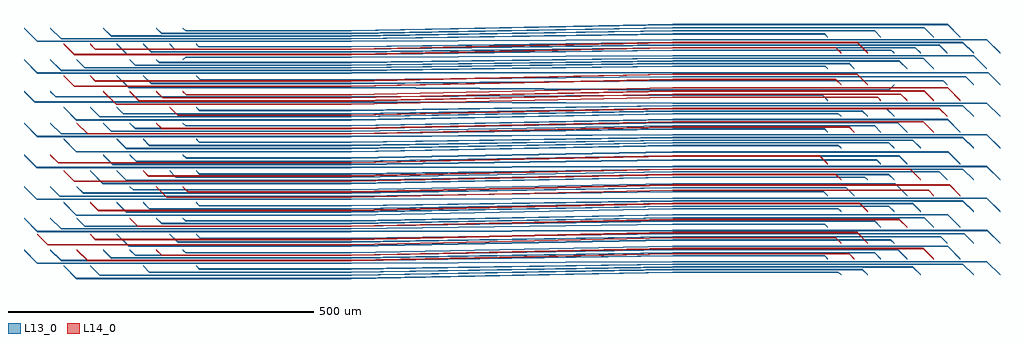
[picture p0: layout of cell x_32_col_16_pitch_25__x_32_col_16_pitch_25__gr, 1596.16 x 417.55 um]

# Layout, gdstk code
import gdstk
lib = gdstk.Library(unit=1e-6, precision=1e-09)
def R(c, l, rs):  # rectangles x0, y0, x1, y1
    for r in rs: c.add(gdstk.rectangle(r[:2], r[2:], *l))
def A(c, l, x, y, w, h, nx, ny, dx, dy):  # array of equal rectangles
    R(c, l, [(x+i*dx, y+j*dy, x+i*dx+w, y+j*dy+h) for i in range(nx) for j in range(ny)])
def P(c, l, *ps):  # polygons
    for p in ps: c.add(gdstk.Polygon(p, *l))
L13_0 = (13, 0)
L14_0 = (14, 0)

x_32_col_16_pitch_25__x_ = lib.new_cell('x_32_col_16_pitch_25__x_32_col_16_pitch_25__gr')
A(x_32_col_16_pitch_25__x_, L13_0, 1425.106, 1466.224, 449.894, 2, 1, 3, 0, 103.68)
A(x_32_col_16_pitch_25__x_, L13_0, 2400, 1476.56, 271.46, 2, 1, 3, 0, 103.68)
A(x_32_col_16_pitch_25__x_, L13_0, 1544.638, 1476.592, 330.362, 2, 1, 3, 0, 103.68)
A(x_32_col_16_pitch_25__x_, L13_0, 2400, 1485.2, 392.72, 2, 1, 3, 0, 103.68)
A(x_32_col_16_pitch_25__x_, L13_0, 2400, 1555.184, 248.946, 2, 1, 3, 0, 155.52)
A(x_32_col_16_pitch_25__x_, L13_0, 2400, 1560.368, 330.362, 2, 1, 3, 0, 155.52)
A(x_32_col_16_pitch_25__x_, L13_0, 2400, 1570.736, 449.894, 2, 1, 3, 0, 155.52)
A(x_32_col_16_pitch_25__x_, L13_0, 1506.522, 1575.088, 368.478, 2, 1, 3, 0, 51.84)
A(x_32_col_16_pitch_25__x_, L13_0, 2400, 1584.56, 353.74, 2, 1, 3, 0, 51.84)
A(x_32_col_16_pitch_25__x_, L13_0, 1626.054, 1585.456, 248.946, 2, 1, 4, 0, 51.84)
A(x_32_col_16_pitch_25__x_, L13_0, 2400, 1593.2, 475, 2, 1, 4, 0, 51.84)
A(x_32_col_16_pitch_25__x_, L13_0, 2400, 1597.52, 513.982, 2, 1, 4, 0, 51.84)
R(x_32_col_16_pitch_25__x_, L13_0, [(1463.222,1471.408,1875,1473.408), (2400,1480.88,2710.44,1482.88), (1626.054,1481.776,1875,1483.776), (2400,1489.52,2875,1491.52), (1361.017,1491.28,1875,1493.28), (2400,1493.84,2913.982,1495.84), (1400,1495.6,1875,1497.6), (1482.28,1499.92,1875,1501.92), (2400,1503.344,2648.946,1505.344), (1521.26,1504.24,1875,1506.24), (2400,1508.528,2730.362,1510.528), (1603.54,1508.56,1875,1510.56), (2400,1513.712,2768.478,1515.712), (2400,1518.896,2849.894,1520.896), (1510.41,1519.36,1875,1521.36), (1590.53,1525.84,1875,1527.84), (2400,1529.264,2757.196,1531.264), (1627.35,1532.32,1875,1534.32), (2400,1534.448,2838.612,1536.448), (2400,1539.632,2876.728,1541.632), (1361.017,1543.12,1875,1545.12), (2400,1544.816,2914.846,1546.816), (1400,1547.44,1875,1549.44), (1438.98,1551.76,1875,1553.76), (1564.56,1556.08,1875,1558.08), (1603.54,1560.4,1875,1562.4), (2400,1565.552,2811.778,1567.552), (1360.153,1595.824,1875,1597.824), (1398.272,1601.008,1875,1603.008), (1436.388,1606.192,1875,1608.192), (2400,1608.32,2647.65,1610.32), (1517.804,1611.376,1875,1613.376), (2400,1614.8,2684.47,1616.8), (2400,1621.28,2764.59,1623.28), (1468.406,1621.744,1875,1623.744), (2400,1632.08,2714.76,1634.08), (1587.938,1632.112,1875,1634.112), (2400,1640.72,2836.02,1642.72), (1360.153,1647.664,1875,1649.664), (1484.872,1652.848,1875,1654.848), (1522.988,1658.032,1875,1660.032), (2400,1660.16,2734.25,1662.16), (1604.404,1663.216,1875,1665.216), (2400,1666.64,2771.07,1668.64), (2400,1673.12,2851.19,1675.12), (1361.017,1698.64,1875,1700.64), (1400,1702.96,1875,1704.96), (1482.28,1707.28,1875,1709.28), (1521.26,1711.6,1875,1713.6), (1603.54,1715.92,1875,1717.92), (2400,1721.072,2768.478,1723.072), (1425.106,1725.424,1875,1727.424), (1463.222,1730.608,1875,1732.608), (2400,1735.76,2671.46,1737.76), (1501.338,1735.792,1875,1737.792), (2400,1740.08,2710.44,1742.08), (2400,1744.4,2749.42,1746.4), (1356.697,1754.8,1875,1756.8), (1391.36,1763.44,1875,1765.44), (2400,1766,2645.49,1768), (2400,1774.64,2753.74,1776.64), (1510.41,1778.56,1875,1780.56), (1547.23,1785.04,1875,1787.04), (2400,1789.76,2842.5,1791.76), (1627.35,1791.52,1875,1793.52), (2400,1796.24,2879.32,1798.24), (1361.017,1802.32,1875,1804.32), (2400,1802.72,2916.142,1804.72), (1400,1806.64,1875,1808.64), (1438.98,1810.96,1875,1812.96), (2400,1813.52,2649.81,1815.52), (1521.26,1815.28,1875,1817.28), (2400,1817.84,2688.79,1819.84), (1560.24,1819.6,1875,1821.6), (2400,1822.16,2771.07,1824.16), (2400,1826.48,2810.05,1828.48), (1603.54,1828.24,1875,1830.24), (2400,1830.8,2892.332,1832.8), (1508.25,1832.56,1875,1834.56), (1547.23,1836.88,1875,1838.88), (2400,1839.44,2758.06,1841.44), (1586.21,1841.2,1875,1843.2), (2400,1843.76,2797.04,1845.76), (1625.19,1845.52,1875,1847.52), (2400,1848.08,2836.02,1850.08), (2400,1852.4,2875,1854.4), (1361.017,1854.16,1875,1856.16), (2400,1856.72,2913.982,1858.72), (1400,1858.48,1875,1860.48), (1482.28,1862.8,1875,1864.8), (1564.56,1867.12,1875,1869.12), (1603.54,1871.44,1875,1873.44), (2400,1876.592,2811.778,1878.592)])
P(x_32_col_16_pitch_25__x_, L13_0, [(2654.13,1861.04),(2654.13,1863.04),(2648.946,1868.224),(2648.946,1866.224)],
  [(2400,1866.224),(2400,1868.224),(1875,1860.48),(1875,1858.48)],
  [(1400,1858.48),(1400,1860.48),(1382.72,1877.76),(1382.72,1875.76)],
  [(2740.73,1861.04),(2740.73,1863.04),(2730.362,1873.408),(2730.362,1871.408)],
  [(2400,1871.408),(2400,1873.408),(1875,1864.8),(1875,1862.8)],
  [(1482.28,1862.8),(1482.28,1864.8),(1469.32,1877.76),(1469.32,1875.76)],
  [(2827.33,1861.04),(2827.33,1863.04),(2811.778,1878.592),(2811.778,1876.592)],
  [(2400,1876.592),(2400,1878.592),(1875,1869.12),(1875,1867.12)],
  [(1564.56,1867.12),(1564.56,1869.12),(1555.92,1877.76),(1555.92,1875.76)],
  [(2870.63,1861.04),(2870.63,1863.04),(2849.894,1883.776),(2849.894,1881.776)],
  [(2400,1881.776),(2400,1883.776),(1875,1873.44),(1875,1871.44)],
  [(1603.54,1871.44),(1603.54,1873.44),(1599.22,1877.76),(1599.22,1875.76)],
  [(2762.38,1835.12),(2762.38,1837.12),(2758.06,1841.44),(2758.06,1839.44)],
  [(2400,1839.44),(2400,1841.44),(1875,1834.56),(1875,1832.56)],
  [(1508.25,1832.56),(1508.25,1834.56),(1490.97,1851.84),(1490.97,1849.84)],
  [(2805.68,1835.12),(2805.68,1837.12),(2797.04,1845.76),(2797.04,1843.76)],
  [(2400,1843.76),(2400,1845.76),(1875,1838.88),(1875,1836.88)],
  [(1547.23,1836.88),(1547.23,1838.88),(1534.27,1851.84),(1534.27,1849.84)],
  [(2848.98,1835.12),(2848.98,1837.12),(2836.02,1850.08),(2836.02,1848.08)],
  [(2400,1848.08),(2400,1850.08),(1875,1843.2),(1875,1841.2)],
  [(1586.21,1841.2),(1586.21,1843.2),(1577.57,1851.84),(1577.57,1849.84)],
  [(2892.28,1835.12),(2892.28,1837.12),(2875,1854.4),(2875,1852.4)],
  [(2400,1852.4),(2400,1854.4),(1875,1847.52),(1875,1845.52)],
  [(1625.19,1845.52),(1625.19,1847.52),(1620.87,1851.84),(1620.87,1849.84)],
  [(2935.582,1835.12),(2935.582,1837.12),(2913.982,1858.72),(2913.982,1856.72)],
  [(2400,1856.72),(2400,1858.72),(1875,1856.16),(1875,1854.16)],
  [(1361.017,1854.16),(1361.017,1856.16),(1339.417,1877.76),(1339.417,1875.76)],
  [(2654.13,1809.2),(2654.13,1811.2),(2649.81,1815.52),(2649.81,1813.52)],
  [(2400,1813.52),(2400,1815.52),(1875,1808.64),(1875,1806.64)],
  [(1400,1806.64),(1400,1808.64),(1382.72,1825.92),(1382.72,1823.92)],
  [(2697.43,1809.2),(2697.43,1811.2),(2688.79,1819.84),(2688.79,1817.84)],
  [(2400,1817.84),(2400,1819.84),(1875,1812.96),(1875,1810.96)],
  [(1438.98,1810.96),(1438.98,1812.96),(1426.02,1825.92),(1426.02,1823.92)],
  [(2784.03,1809.2),(2784.03,1811.2),(2771.07,1824.16),(2771.07,1822.16)],
  [(2400,1822.16),(2400,1824.16),(1875,1817.28),(1875,1815.28)],
  [(1521.26,1815.28),(1521.26,1817.28),(1512.62,1825.92),(1512.62,1823.92)],
  [(2827.33,1809.2),(2827.33,1811.2),(2810.05,1828.48),(2810.05,1826.48)],
  [(2400,1826.48),(2400,1828.48),(1875,1821.6),(1875,1819.6)],
  [(1560.24,1819.6),(1560.24,1821.6),(1555.92,1825.92),(1555.92,1823.92)],
  [(2913.932,1809.2),(2913.932,1811.2),(2892.332,1832.8),(2892.332,1830.8)],
  [(2400,1830.8),(2400,1832.8),(1875,1830.24),(1875,1828.24)],
  [(1603.54,1828.24),(1603.54,1830.24),(1599.22,1825.92),(1599.22,1823.92)],
  [(2762.38,1783.28),(2762.38,1785.28),(2753.74,1776.64),(2753.74,1774.64)],
  [(2400,1774.64),(2400,1776.64),(1875,1780.56),(1875,1778.56)],
  [(1510.41,1778.56),(1510.41,1780.56),(1490.97,1800),(1490.97,1798)],
  [(2848.98,1783.28),(2848.98,1785.28),(2842.5,1791.76),(2842.5,1789.76)],
  [(2400,1789.76),(2400,1791.76),(1875,1787.04),(1875,1785.04)],
  [(1547.23,1785.04),(1547.23,1787.04),(1534.27,1800),(1534.27,1798)],
  [(2892.28,1783.28),(2892.28,1785.28),(2879.32,1798.24),(2879.32,1796.24)],
  [(2400,1796.24),(2400,1798.24),(1875,1793.52),(1875,1791.52)],
  [(1627.35,1791.52),(1627.35,1793.52),(1620.87,1800),(1620.87,1798)],
  [(2935.582,1783.28),(2935.582,1785.28),(2916.142,1804.72),(2916.142,1802.72)],
  [(2400,1802.72),(2400,1804.72),(1875,1804.32),(1875,1802.32)],
  [(1361.017,1802.32),(1361.017,1804.32),(1339.417,1825.92),(1339.417,1823.92)],
  [(2654.13,1757.36),(2654.13,1759.36),(2645.49,1768),(2645.49,1766)],
  [(2400,1766),(2400,1768),(1875,1765.44),(1875,1763.44)],
  [(1391.36,1763.44),(1391.36,1765.44),(1382.72,1774.08),(1382.72,1772.08)],
  [(2675.78,1731.44),(2675.78,1733.44),(2671.46,1737.76),(2671.46,1735.76)],
  [(2400,1735.76),(2400,1737.76),(1875,1727.424),(1875,1725.424)],
  [(1425.106,1725.424),(1425.106,1727.424),(1404.37,1748.16),(1404.37,1746.16)],
  [(2719.08,1731.44),(2719.08,1733.44),(2710.44,1742.08),(2710.44,1740.08)],
  [(2400,1740.08),(2400,1742.08),(1875,1732.608),(1875,1730.608)],
  [(1463.222,1730.608),(1463.222,1732.608),(1447.67,1748.16),(1447.67,1746.16)],
  [(2762.38,1731.44),(2762.38,1733.44),(2749.42,1746.4),(2749.42,1744.4)],
  [(2400,1744.4),(2400,1746.4),(1875,1737.792),(1875,1735.792)],
  [(1501.338,1735.792),(1501.338,1737.792),(1490.97,1748.16),(1490.97,1746.16)],
  [(2892.28,1731.44),(2892.28,1733.44),(2875,1750.72),(2875,1748.72)],
  [(2400,1748.72),(2400,1750.72),(1875,1742.976),(1875,1740.976)],
  [(1626.054,1740.976),(1626.054,1742.976),(1620.87,1748.16),(1620.87,1746.16)],
  [(2935.582,1731.44),(2935.582,1733.44),(2913.982,1755.04),(2913.982,1753.04)],
  [(2400,1753.04),(2400,1755.04),(1875,1756.8),(1875,1754.8)],
  [(1356.697,1754.8),(1356.697,1756.8),(1339.417,1774.08),(1339.417,1772.08)],
  [(2654.13,1705.52),(2654.13,1707.52),(2648.946,1712.704),(2648.946,1710.704)],
  [(2400,1710.704),(2400,1712.704),(1875,1704.96),(1875,1702.96)],
  [(1400,1702.96),(1400,1704.96),(1382.72,1722.24),(1382.72,1720.24)],
  [(2740.73,1705.52),(2740.73,1707.52),(2730.362,1717.888),(2730.362,1715.888)],
  [(2400,1715.888),(2400,1717.888),(1875,1709.28),(1875,1707.28)],
  [(1482.28,1707.28),(1482.28,1709.28),(1469.32,1722.24),(1469.32,1720.24)],
  [(2784.03,1705.52),(2784.03,1707.52),(2768.478,1723.072),(2768.478,1721.072)],
  [(2400,1721.072),(2400,1723.072),(1875,1713.6),(1875,1711.6)],
  [(1521.26,1711.6),(1521.26,1713.6),(1512.62,1722.24),(1512.62,1720.24)],
  [(2870.63,1705.52),(2870.63,1707.52),(2849.894,1728.256),(2849.894,1726.256)],
  [(2400,1726.256),(2400,1728.256),(1875,1717.92),(1875,1715.92)],
  [(1603.54,1715.92),(1603.54,1717.92),(1599.22,1722.24),(1599.22,1720.24)],
  [(2675.78,1679.6),(2675.78,1681.6),(2671.46,1685.92),(2671.46,1683.92)],
  [(2400,1683.92),(2400,1685.92),(1875,1675.584),(1875,1673.584)],
  [(1425.106,1673.584),(1425.106,1675.584),(1404.37,1696.32),(1404.37,1694.32)],
  [(2762.38,1679.6),(2762.38,1681.6),(2753.74,1690.24),(2753.74,1688.24)],
  [(2400,1688.24),(2400,1690.24),(1875,1680.768),(1875,1678.768)],
  [(1506.522,1678.768),(1506.522,1680.768),(1490.97,1696.32),(1490.97,1694.32)],
  [(2805.68,1679.6),(2805.68,1681.6),(2792.72,1694.56),(2792.72,1692.56)],
  [(2400,1692.56),(2400,1694.56),(1875,1685.952),(1875,1683.952)],
  [(1544.638,1683.952),(1544.638,1685.952),(1534.27,1696.32),(1534.27,1694.32)],
  [(2892.28,1679.6),(2892.28,1681.6),(2875,1698.88),(2875,1696.88)],
  [(2400,1696.88),(2400,1698.88),(1875,1691.136),(1875,1689.136)],
  [(1626.054,1689.136),(1626.054,1691.136),(1620.87,1696.32),(1620.87,1694.32)],
  [(2935.582,1679.6),(2935.582,1681.6),(2913.982,1703.2),(2913.982,1701.2)],
  [(2400,1701.2),(2400,1703.2),(1875,1700.64),(1875,1698.64)],
  [(1361.017,1698.64),(1361.017,1700.64),(1339.417,1722.24),(1339.417,1720.24)],
  [(2740.73,1653.68),(2740.73,1655.68),(2734.25,1662.16),(2734.25,1660.16)],
  [(2400,1660.16),(2400,1662.16),(1875,1654.848),(1875,1652.848)],
  [(1484.872,1652.848),(1484.872,1654.848),(1469.32,1670.4),(1469.32,1668.4)],
  [(2784.03,1653.68),(2784.03,1655.68),(2771.07,1668.64),(2771.07,1666.64)],
  [(2400,1666.64),(2400,1668.64),(1875,1660.032),(1875,1658.032)],
  [(1522.988,1658.032),(1522.988,1660.032),(1512.62,1670.4),(1512.62,1668.4)],
  [(2870.63,1653.68),(2870.63,1655.68),(2851.19,1675.12),(2851.19,1673.12)],
  [(2400,1673.12),(2400,1675.12),(1875,1665.216),(1875,1663.216)],
  [(1604.404,1663.216),(1604.404,1665.216),(1599.22,1670.4),(1599.22,1668.4)],
  [(2719.08,1627.76),(2719.08,1629.76),(2714.76,1634.08),(2714.76,1632.08)],
  [(2400,1632.08),(2400,1634.08),(1875,1623.744),(1875,1621.744)],
  [(1468.406,1621.744),(1468.406,1623.744),(1447.67,1644.48),(1447.67,1642.48)],
  [(2762.38,1627.76),(2762.38,1629.76),(2753.74,1638.4),(2753.74,1636.4)],
  [(2400,1636.4),(2400,1638.4),(1875,1628.928),(1875,1626.928)],
  [(1506.522,1626.928),(1506.522,1628.928),(1490.97,1644.48),(1490.97,1642.48)],
  [(2848.98,1627.76),(2848.98,1629.76),(2836.02,1642.72),(2836.02,1640.72)],
  [(2400,1640.72),(2400,1642.72),(1875,1634.112),(1875,1632.112)],
  [(1587.938,1632.112),(1587.938,1634.112),(1577.57,1644.48),(1577.57,1642.48)],
  [(2892.28,1627.76),(2892.28,1629.76),(2875,1647.04),(2875,1645.04)],
  [(2400,1645.04),(2400,1647.04),(1875,1639.296),(1875,1637.296)],
  [(1626.054,1637.296),(1626.054,1639.296),(1620.87,1644.48),(1620.87,1642.48)],
  [(2935.582,1627.76),(2935.582,1629.76),(2913.982,1651.36),(2913.982,1649.36)],
  [(2400,1649.36),(2400,1651.36),(1875,1649.664),(1875,1647.664)],
  [(1360.153,1647.664),(1360.153,1649.664),(1339.417,1670.4),(1339.417,1668.4)],
  [(2654.13,1601.84),(2654.13,1603.84),(2647.65,1610.32),(2647.65,1608.32)],
  [(2400,1608.32),(2400,1610.32),(1875,1603.008),(1875,1601.008)],
  [(1398.272,1601.008),(1398.272,1603.008),(1382.72,1618.56),(1382.72,1616.56)],
  [(2697.43,1601.84),(2697.43,1603.84),(2684.47,1616.8),(2684.47,1614.8)],
  [(2400,1614.8),(2400,1616.8),(1875,1608.192),(1875,1606.192)],
  [(1436.388,1606.192),(1436.388,1608.192),(1426.02,1618.56),(1426.02,1616.56)],
  [(2784.03,1601.84),(2784.03,1603.84),(2764.59,1623.28),(2764.59,1621.28)],
  [(2400,1621.28),(2400,1623.28),(1875,1613.376),(1875,1611.376)],
  [(1517.804,1611.376),(1517.804,1613.376),(1512.62,1618.56),(1512.62,1616.56)],
  [(2675.78,1575.92),(2675.78,1577.92),(2671.46,1582.24),(2671.46,1580.24)],
  [(2400,1580.24),(2400,1582.24),(1875,1571.904),(1875,1569.904)],
  [(1425.106,1569.904),(1425.106,1571.904),(1404.37,1592.64),(1404.37,1590.64)],
  [(2762.38,1575.92),(2762.38,1577.92),(2753.74,1586.56),(2753.74,1584.56)],
  [(2400,1584.56),(2400,1586.56),(1875,1577.088),(1875,1575.088)],
  [(1506.522,1575.088),(1506.522,1577.088),(1490.97,1592.64),(1490.97,1590.64)],
  [(2805.68,1575.92),(2805.68,1577.92),(2792.72,1590.88),(2792.72,1588.88)],
  [(2400,1588.88),(2400,1590.88),(1875,1582.272),(1875,1580.272)],
  [(1544.638,1580.272),(1544.638,1582.272),(1534.27,1592.64),(1534.27,1590.64)],
  [(2892.28,1575.92),(2892.28,1577.92),(2875,1595.2),(2875,1593.2)],
  [(2400,1593.2),(2400,1595.2),(1875,1587.456),(1875,1585.456)],
  [(1626.054,1585.456),(1626.054,1587.456),(1620.87,1592.64),(1620.87,1590.64)],
  [(2935.582,1575.92),(2935.582,1577.92),(2913.982,1599.52),(2913.982,1597.52)],
  [(2400,1597.52),(2400,1599.52),(1875,1597.824),(1875,1595.824)],
  [(1360.153,1595.824),(1360.153,1597.824),(1339.417,1618.56),(1339.417,1616.56)],
  [(2654.13,1550),(2654.13,1552),(2648.946,1557.184),(2648.946,1555.184)],
  [(2400,1555.184),(2400,1557.184),(1875,1549.44),(1875,1547.44)],
  [(1400,1547.44),(1400,1549.44),(1382.72,1566.72),(1382.72,1564.72)],
  [(2740.73,1550),(2740.73,1552),(2730.362,1562.368),(2730.362,1560.368)],
  [(2400,1560.368),(2400,1562.368),(1875,1553.76),(1875,1551.76)],
  [(1438.98,1551.76),(1438.98,1553.76),(1426.02,1566.72),(1426.02,1564.72)],
  [(2827.33,1550),(2827.33,1552),(2811.778,1567.552),(2811.778,1565.552)],
  [(2400,1565.552),(2400,1567.552),(1875,1558.08),(1875,1556.08)],
  [(1564.56,1556.08),(1564.56,1558.08),(1555.92,1566.72),(1555.92,1564.72)],
  [(2870.63,1550),(2870.63,1552),(2849.894,1572.736),(2849.894,1570.736)],
  [(2400,1570.736),(2400,1572.736),(1875,1562.4),(1875,1560.4)],
  [(1603.54,1560.4),(1603.54,1562.4),(1599.22,1566.72),(1599.22,1564.72)],
  [(2762.38,1524.08),(2762.38,1526.08),(2757.196,1531.264),(2757.196,1529.264)],
  [(2400,1529.264),(2400,1531.264),(1875,1521.36),(1875,1519.36)],
  [(1510.41,1519.36),(1510.41,1521.36),(1490.97,1540.8),(1490.97,1538.8)],
  [(2848.98,1524.08),(2848.98,1526.08),(2838.612,1536.448),(2838.612,1534.448)],
  [(2400,1534.448),(2400,1536.448),(1875,1527.84),(1875,1525.84)],
  [(1590.53,1525.84),(1590.53,1527.84),(1577.57,1540.8),(1577.57,1538.8)],
  [(2892.28,1524.08),(2892.28,1526.08),(2876.728,1541.632),(2876.728,1539.632)],
  [(2400,1539.632),(2400,1541.632),(1875,1534.32),(1875,1532.32)],
  [(1627.35,1532.32),(1627.35,1534.32),(1620.87,1540.8),(1620.87,1538.8)],
  [(2935.582,1524.08),(2935.582,1526.08),(2914.846,1546.816),(2914.846,1544.816)],
  [(2400,1544.816),(2400,1546.816),(1875,1545.12),(1875,1543.12)],
  [(1361.017,1543.12),(1361.017,1545.12),(1339.417,1566.72),(1339.417,1564.72)],
  [(2654.13,1498.16),(2654.13,1500.16),(2648.946,1505.344),(2648.946,1503.344)],
  [(2400,1503.344),(2400,1505.344),(1875,1497.6),(1875,1495.6)],
  [(1400,1495.6),(1400,1497.6),(1382.72,1514.88),(1382.72,1512.88)],
  [(2740.73,1498.16),(2740.73,1500.16),(2730.362,1510.528),(2730.362,1508.528)],
  [(2400,1508.528),(2400,1510.528),(1875,1501.92),(1875,1499.92)],
  [(1482.28,1499.92),(1482.28,1501.92),(1469.32,1514.88),(1469.32,1512.88)],
  [(2784.03,1498.16),(2784.03,1500.16),(2768.478,1515.712),(2768.478,1513.712)],
  [(2400,1513.712),(2400,1515.712),(1875,1506.24),(1875,1504.24)],
  [(1521.26,1504.24),(1521.26,1506.24),(1512.62,1514.88),(1512.62,1512.88)],
  [(2870.63,1498.16),(2870.63,1500.16),(2849.894,1520.896),(2849.894,1518.896)],
  [(2400,1518.896),(2400,1520.896),(1875,1510.56),(1875,1508.56)],
  [(1603.54,1508.56),(1603.54,1510.56),(1599.22,1514.88),(1599.22,1512.88)],
  [(2675.78,1472.24),(2675.78,1474.24),(2671.46,1478.56),(2671.46,1476.56)],
  [(2400,1476.56),(2400,1478.56),(1875,1468.224),(1875,1466.224)],
  [(1425.106,1466.224),(1425.106,1468.224),(1404.37,1488.96),(1404.37,1486.96)],
  [(2719.08,1472.24),(2719.08,1474.24),(2710.44,1482.88),(2710.44,1480.88)],
  [(2400,1480.88),(2400,1482.88),(1875,1473.408),(1875,1471.408)],
  [(1463.222,1471.408),(1463.222,1473.408),(1447.67,1488.96),(1447.67,1486.96)],
  [(2805.68,1472.24),(2805.68,1474.24),(2792.72,1487.2),(2792.72,1485.2)],
  [(2400,1485.2),(2400,1487.2),(1875,1478.592),(1875,1476.592)],
  [(1544.638,1476.592),(1544.638,1478.592),(1534.27,1488.96),(1534.27,1486.96)],
  [(2892.28,1472.24),(2892.28,1474.24),(2875,1491.52),(2875,1489.52)],
  [(2400,1489.52),(2400,1491.52),(1875,1483.776),(1875,1481.776)],
  [(1626.054,1481.776),(1626.054,1483.776),(1620.87,1488.96),(1620.87,1486.96)],
  [(2935.582,1472.24),(2935.582,1474.24),(2913.982,1495.84),(2913.982,1493.84)],
  [(2400,1493.84),(2400,1495.84),(1875,1493.28),(1875,1491.28)],
  [(1361.017,1491.28),(1361.017,1493.28),(1339.417,1514.88),(1339.417,1512.88)])
R(x_32_col_16_pitch_25__x_, L14_0, [(1443.3,1495.6,1875,1497.6), (1564.56,1504.24,1875,1506.24), (2400,1506.8,2688.79,1508.8), (2400,1515.44,2810.05,1517.44), (1378.347,1521.52,1875,1523.52), (1456.31,1530.16,1875,1532.16), (2400,1532.72,2667.14,1534.72), (2400,1541.36,2701.8,1543.36), (1525.58,1551.76,1875,1553.76), (2400,1562.96,2771.07,1564.96), (1460.63,1577.68,1875,1579.68), (2400,1588.88,2706.12,1590.88), (1573.2,1599.28,1875,1601.28), (1607.86,1607.92,1875,1609.92), (2400,1610.48,2818.69,1612.48), (2400,1619.12,2853.35,1621.12), (1421.65,1625.2,1875,1627.2), (1542.91,1633.84,1875,1635.84), (2400,1636.4,2667.14,1638.4), (2400,1645.04,2788.4,1647.04), (1395.68,1655.44,1875,1657.44), (2400,1666.64,2641.17,1668.64), (1443.3,1702.96,1875,1704.96), (1564.56,1711.6,1875,1713.6), (2400,1714.16,2688.79,1716.16), (2400,1722.8,2810.05,1724.8), (1590.53,1733.2,1875,1735.2), (2400,1744.4,2836.02,1746.4), (1490.056,1751.344,1875,1753.344), (1528.172,1756.528,1875,1758.528), (1566.288,1761.712,1875,1763.712), (2400,1762.544,2735.546,1764.544), (1604.404,1766.896,1875,1768.896), (2400,1767.728,2773.662,1769.728), (2400,1772.912,2811.778,1774.912), (2400,1778.096,2849.894,1780.096), (1421.65,1780.72,1875,1782.72), (1456.31,1789.36,1875,1791.36), (2400,1791.92,2667.14,1793.92), (2400,1800.56,2701.8,1802.56), (1421.65,1832.56,1875,1834.56), (1456.31,1841.2,1875,1843.2), (2400,1843.76,2667.14,1845.76), (2400,1852.4,2701.8,1854.4)])
P(x_32_col_16_pitch_25__x_, L14_0, [(2675.78,1835.12),(2675.78,1837.12),(2667.14,1845.76),(2667.14,1843.76)],
  [(2400,1843.76),(2400,1845.76),(1875,1834.56),(1875,1832.56)],
  [(1421.65,1832.56),(1421.65,1834.56),(1404.37,1851.84),(1404.37,1849.84)],
  [(2719.08,1835.12),(2719.08,1837.12),(2701.8,1854.4),(2701.8,1852.4)],
  [(2400,1852.4),(2400,1854.4),(1875,1843.2),(1875,1841.2)],
  [(1456.31,1841.2),(1456.31,1843.2),(1447.67,1851.84),(1447.67,1849.84)],
  [(2675.78,1783.28),(2675.78,1785.28),(2667.14,1793.92),(2667.14,1791.92)],
  [(2400,1791.92),(2400,1793.92),(1875,1782.72),(1875,1780.72)],
  [(1421.65,1780.72),(1421.65,1782.72),(1404.37,1800),(1404.37,1798)],
  [(2719.08,1783.28),(2719.08,1785.28),(2701.8,1802.56),(2701.8,1800.56)],
  [(2400,1800.56),(2400,1802.56),(1875,1791.36),(1875,1789.36)],
  [(1456.31,1789.36),(1456.31,1791.36),(1447.67,1800),(1447.67,1798)],
  [(2740.73,1757.36),(2740.73,1759.36),(2735.546,1764.544),(2735.546,1762.544)],
  [(2400,1762.544),(2400,1764.544),(1875,1753.344),(1875,1751.344)],
  [(1490.056,1751.344),(1490.056,1753.344),(1469.32,1774.08),(1469.32,1772.08)],
  [(2784.03,1757.36),(2784.03,1759.36),(2773.662,1769.728),(2773.662,1767.728)],
  [(2400,1767.728),(2400,1769.728),(1875,1758.528),(1875,1756.528)],
  [(1528.172,1756.528),(1528.172,1758.528),(1512.62,1774.08),(1512.62,1772.08)],
  [(2827.33,1757.36),(2827.33,1759.36),(2811.778,1774.912),(2811.778,1772.912)],
  [(2400,1772.912),(2400,1774.912),(1875,1763.712),(1875,1761.712)],
  [(1566.288,1761.712),(1566.288,1763.712),(1555.92,1774.08),(1555.92,1772.08)],
  [(2870.63,1757.36),(2870.63,1759.36),(2849.894,1780.096),(2849.894,1778.096)],
  [(2400,1778.096),(2400,1780.096),(1875,1768.896),(1875,1766.896)],
  [(1604.404,1766.896),(1604.404,1768.896),(1599.22,1774.08),(1599.22,1772.08)],
  [(2848.98,1731.44),(2848.98,1733.44),(2836.02,1746.4),(2836.02,1744.4)],
  [(2400,1744.4),(2400,1746.4),(1875,1735.2),(1875,1733.2)],
  [(1590.53,1733.2),(1590.53,1735.2),(1577.57,1748.16),(1577.57,1746.16)],
  [(2697.43,1705.52),(2697.43,1707.52),(2688.79,1716.16),(2688.79,1714.16)],
  [(2400,1714.16),(2400,1716.16),(1875,1704.96),(1875,1702.96)],
  [(1443.3,1702.96),(1443.3,1704.96),(1426.02,1722.24),(1426.02,1720.24)],
  [(2827.33,1705.52),(2827.33,1707.52),(2810.05,1724.8),(2810.05,1722.8)],
  [(2400,1722.8),(2400,1724.8),(1875,1713.6),(1875,1711.6)],
  [(1564.56,1711.6),(1564.56,1713.6),(1555.92,1722.24),(1555.92,1720.24)],
  [(2654.13,1653.68),(2654.13,1655.68),(2641.17,1668.64),(2641.17,1666.64)],
  [(2400,1666.64),(2400,1668.64),(1875,1657.44),(1875,1655.44)],
  [(1395.68,1655.44),(1395.68,1657.44),(1382.72,1670.4),(1382.72,1668.4)],
  [(2675.78,1627.76),(2675.78,1629.76),(2667.14,1638.4),(2667.14,1636.4)],
  [(2400,1636.4),(2400,1638.4),(1875,1627.2),(1875,1625.2)],
  [(1421.65,1625.2),(1421.65,1627.2),(1404.37,1644.48),(1404.37,1642.48)],
  [(2805.68,1627.76),(2805.68,1629.76),(2788.4,1647.04),(2788.4,1645.04)],
  [(2400,1645.04),(2400,1647.04),(1875,1635.84),(1875,1633.84)],
  [(1542.91,1633.84),(1542.91,1635.84),(1534.27,1644.48),(1534.27,1642.48)],
  [(2827.33,1601.84),(2827.33,1603.84),(2818.69,1612.48),(2818.69,1610.48)],
  [(2400,1610.48),(2400,1612.48),(1875,1601.28),(1875,1599.28)],
  [(1573.2,1599.28),(1573.2,1601.28),(1555.92,1618.56),(1555.92,1616.56)],
  [(2870.63,1601.84),(2870.63,1603.84),(2853.35,1621.12),(2853.35,1619.12)],
  [(2400,1619.12),(2400,1621.12),(1875,1609.92),(1875,1607.92)],
  [(1607.86,1607.92),(1607.86,1609.92),(1599.22,1618.56),(1599.22,1616.56)],
  [(2719.08,1575.92),(2719.08,1577.92),(2706.12,1590.88),(2706.12,1588.88)],
  [(2400,1588.88),(2400,1590.88),(1875,1579.68),(1875,1577.68)],
  [(1460.63,1577.68),(1460.63,1579.68),(1447.67,1592.64),(1447.67,1590.64)],
  [(2784.03,1550),(2784.03,1552),(2771.07,1564.96),(2771.07,1562.96)],
  [(2400,1562.96),(2400,1564.96),(1875,1553.76),(1875,1551.76)],
  [(1525.58,1551.76),(1525.58,1553.76),(1512.62,1566.72),(1512.62,1564.72)],
  [(2675.78,1524.08),(2675.78,1526.08),(2667.14,1534.72),(2667.14,1532.72)],
  [(2400,1532.72),(2400,1534.72),(1875,1523.52),(1875,1521.52)],
  [(1378.347,1521.52),(1378.347,1523.52),(1361.067,1540.8),(1361.067,1538.8)],
  [(2719.08,1524.08),(2719.08,1526.08),(2701.8,1543.36),(2701.8,1541.36)],
  [(2400,1541.36),(2400,1543.36),(1875,1532.16),(1875,1530.16)],
  [(1456.31,1530.16),(1456.31,1532.16),(1447.67,1540.8),(1447.67,1538.8)],
  [(2697.43,1498.16),(2697.43,1500.16),(2688.79,1508.8),(2688.79,1506.8)],
  [(2400,1506.8),(2400,1508.8),(1875,1497.6),(1875,1495.6)],
  [(1443.3,1495.6),(1443.3,1497.6),(1426.02,1514.88),(1426.02,1512.88)],
  [(2827.33,1498.16),(2827.33,1500.16),(2810.05,1517.44),(2810.05,1515.44)],
  [(2400,1515.44),(2400,1517.44),(1875,1506.24),(1875,1504.24)],
  [(1564.56,1504.24),(1564.56,1506.24),(1555.92,1514.88),(1555.92,1512.88)])

lib.write_gds('x_32_col_16_pitch_25__x_32_col_16_pitch_25__gr.gds')
